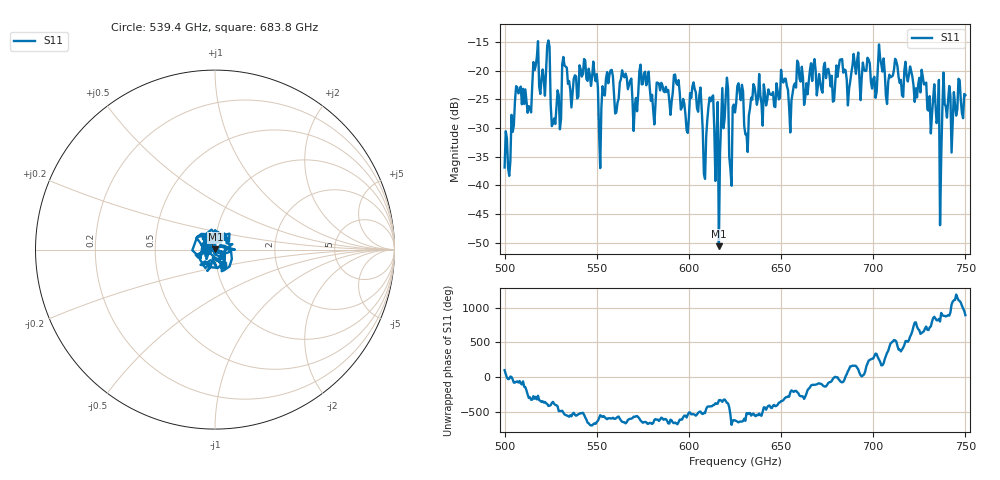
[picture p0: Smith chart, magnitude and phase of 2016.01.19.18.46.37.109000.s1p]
!Created with skrf (http://scikit-rf.org).
# GHz S RI R 50.0
!freq ReS11 ImS11
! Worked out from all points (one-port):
!   401 points, 500 GHz to 750 GHz, reference 50 ohm
!   lowest |S11| = -50.6 dB at 616.2 GHz (marker M1), VSWR 1.01, Z = 50.3 + j0.149 ohm
!   |S11| at or under -10 dB: start of sweep to end of sweep
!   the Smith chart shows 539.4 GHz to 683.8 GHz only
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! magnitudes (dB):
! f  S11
! 500 GHz  -36.9
! 513.8 GHz  -26.5
! 516.9 GHz  -19.1
! 523.8 GHz  -14.7
! 526.2 GHz  -29.2
! 531.2 GHz  -18.9
! 548.8 GHz  -20.6
! 552.5 GHz  -26.5
! 556.2 GHz  -22.2
! 562.5 GHz  -22.1
! 593.8 GHz  -22.5
! 598.8 GHz  -30.4
! 605 GHz  -27.2
! 608.8 GHz  -38.9
! 611.9 GHz  -25.3
! 616.2 GHz  -50.6
! 619.4 GHz  -28.4
! 623.1 GHz  -40.1
! 625 GHz  -27.3
! 631.2 GHz  -31.0
! 635 GHz  -22.3
! 656.2 GHz  -23.9
! 687.5 GHz  -21.9
! 718.8 GHz  -21.9
! 734.4 GHz  -29.1
! 735.6 GHz  -21.6
! 739.4 GHz  -26.3
! 750 GHz  -24.3
